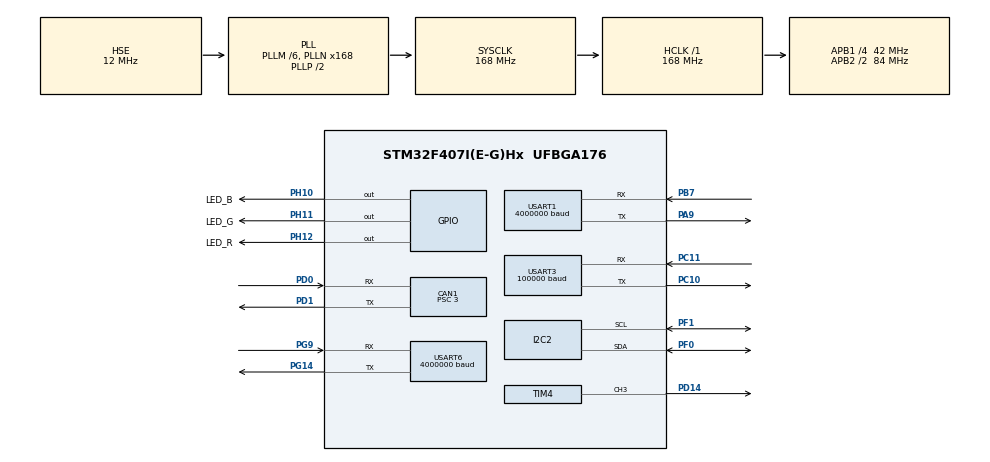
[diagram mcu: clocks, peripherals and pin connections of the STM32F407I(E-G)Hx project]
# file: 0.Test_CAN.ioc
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CAN1.BS1=CAN_BS1_10TQ
CAN1.BS2=CAN_BS2_3TQ
CAN1.CalculateBaudRate=1000000
CAN1.CalculateTimeBit=1000
CAN1.CalculateTimeQuantum=71.42857142857143
CAN1.Mode=CAN_MODE_NORMAL
CAN1.Prescaler=3
Dma.Request0=USART3_RX
Dma.USART3_RX.0.Direction=DMA_PERIPH_TO_MEMORY
Dma.USART3_RX.0.FIFOMode=DMA_FIFOMODE_DISABLE
Dma.USART3_RX.0.Instance=DMA1_Stream1
Dma.USART3_RX.0.MemDataAlignment=DMA_MDATAALIGN_BYTE
Dma.USART3_RX.0.MemInc=DMA_MINC_ENABLE
Dma.USART3_RX.0.Mode=DMA_NORMAL
Dma.USART3_RX.0.PeriphDataAlignment=DMA_PDATAALIGN_BYTE
Dma.USART3_RX.0.PeriphInc=DMA_PINC_DISABLE
Dma.USART3_RX.0.Priority=DMA_PRIORITY_VERY_HIGH
I2C2.I2C_Mode=I2C_Fast
Mcu.Family=STM32F4
Mcu.Name=STM32F407I(E-G)Hx
Mcu.Package=UFBGA176
NVIC.CAN1_RX0_IRQn=true\:0\:0\:false\:false\:true\:true\:true\:true
NVIC.CAN1_RX1_IRQn=true\:0\:0\:false\:false\:true\:true\:true\:true
NVIC.DMA1_Stream1_IRQn=true\:0\:0\:false\:false\:true\:false\:true\:true
NVIC.PriorityGroup=NVIC_PRIORITYGROUP_4
NVIC.USART1_IRQn=true\:0\:0\:false\:false\:true\:true\:true\:true
NVIC.USART3_IRQn=true\:0\:0\:false\:false\:true\:true\:true\:true
NVIC.USART6_IRQn=true\:0\:0\:false\:false\:true\:true\:true\:true
PA9.Mode=Asynchronous
PA9.Signal=USART1_TX
PB7.Mode=Asynchronous
PB7.Signal=USART1_RX
PC10.Mode=Asynchronous
PC10.Signal=USART3_TX
PC11.Mode=Asynchronous
PC11.Signal=USART3_RX
PD0.Mode=CAN_Activate
PD0.Signal=CAN1_RX
PD1.Mode=CAN_Activate
PD1.Signal=CAN1_TX
PD14.Signal=S_TIM4_CH3
PF0.Mode=I2C
PF0.Signal=I2C2_SDA
PF1.Mode=I2C
PF1.Signal=I2C2_SCL
PG14.Mode=Asynchronous
PG14.Signal=USART6_TX
PG9.Mode=Asynchronous
PG9.Signal=USART6_RX
PH0-OSC_IN.Mode=HSE-External-Oscillator
PH0-OSC_IN.Signal=RCC_OSC_IN
PH1-OSC_OUT.Mode=HSE-External-Oscillator
PH1-OSC_OUT.Signal=RCC_OSC_OUT
PH10.GPIO_Label=LED_B
PH10.GPIO_PuPd=GPIO_PULLUP
PH10.Signal=GPIO_Output
PH11.GPIO_Label=LED_G
PH11.GPIO_PuPd=GPIO_PULLUP
PH11.Signal=GPIO_Output
PH12.GPIO_Label=LED_R
PH12.GPIO_PuPd=GPIO_PULLUP
PH12.Signal=GPIO_Output
ProjectManager.HeapSize=0x200
ProjectManager.StackSize=0x400
ProjectManager.TargetToolchain=Makefile
RCC.48MHZClocksFreq_Value=84000000
RCC.AHBFreq_Value=168000000
RCC.APB1CLKDivider=RCC_HCLK_DIV4
RCC.APB1Freq_Value=42000000
RCC.APB1TimFreq_Value=84000000
RCC.APB2CLKDivider=RCC_HCLK_DIV2
RCC.APB2Freq_Value=84000000
RCC.APB2TimFreq_Value=168000000
RCC.CortexFreq_Value=168000000
RCC.HCLKFreq_Value=168000000
RCC.HSE_VALUE=12000000
RCC.HSI_VALUE=16000000
RCC.LSE_VALUE=32768
RCC.PLLM=6
RCC.PLLN=168
RCC.PLLSourceVirtual=RCC_PLLSOURCE_HSE
RCC.SYSCLKFreq_VALUE=168000000
RCC.SYSCLKSource=RCC_SYSCLKSOURCE_PLLCLK
RCC.VCOOutputFreq_Value=336000000
SH.S_TIM4_CH3.0=TIM4_CH3,PWM Generation3 CH3
TIM4.AutoReloadPreload=TIM_AUTORELOAD_PRELOAD_ENABLE
TIM4.Channel-PWM\ Generation3\ CH3=TIM_CHANNEL_3
TIM4.Period=20999
TIM4.Pulse-PWM\ Generation3\ CH3=10500
USART1.BaudRate=4000000
USART1.VirtualMode=VM_ASYNC
USART3.BaudRate=100000
USART3.Parity=PARITY_EVEN
USART3.VirtualMode=VM_ASYNC
USART6.BaudRate=4000000
USART6.VirtualMode=VM_ASYNC
VP_TIM4_VS_ClockSourceINT.Mode=Internal
board=custom

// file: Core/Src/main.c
/* USER CODE BEGIN Header */
/**
  ******************************************************************************
  * @file           : main.c
  * @brief          : Main program body
  ******************************************************************************
  * @attention      : 小米电机测试
  *
  * Copyright (c) 2024 STMicroelectronics.
  * All rights reserved.
  *
  * This software is licensed under terms that can be found in the LICENSE file
  * in the root directory of this software component.
  * If no LICENSE file comes with this software, it is provided AS-IS.
  *
  ******************************************************************************
  */
/* USER CODE END Header */
#include "main.h"
#include "can.h"
#include "dma.h"
#include "i2c.h"
#include "tim.h"
#include "usart.h"
#include "gpio.h"

/* USER CODE BEGIN Includes */
#include "MI_motor_drive.h"
#include "can_test.h"
#include "remote_control.h"
#include "bsp_usart.h"
#include "bsp_rc.h"
#include "OLED.h"
#include "motor_A1.h"
#include "motor_control.h" //GO1电机

/* USER CODE END Includes */

/* USER CODE BEGIN PD */
#define PI 3.1415926535f
#define DGR2RAD PI/180
/* USER CODE END PD */

/* USER CODE BEGIN PV */
//遥控器控制结构体
const RC_ctrl_t* DT7_pram;

// 宇树GO1电机
MOTOR_send Motor_GO1_send;   //以全局变量声明电机控制结构体和电机数据结构体，方便在故障时通过debug查看变量值
MOTOR_recv Motor_GO1_recv;

/* USER CODE END PV */

void SystemClock_Config(void);

int main(void)
{

  /* MCU Configuration--------------------------------------------------------*/

  /* Reset of all peripherals, Initializes the Flash interface and the Systick. */
  HAL_Init();

  /* Configure the system clock */
  SystemClock_Config();

  /* Initialize all configured peripherals */
  MX_GPIO_Init();
  MX_DMA_Init();
  MX_CAN1_Init();
  MX_USART1_UART_Init();
  MX_USART3_UART_Init();
  MX_I2C2_Init();
  MX_USART6_UART_Init();
  MX_TIM4_Init();
  /* USER CODE BEGIN 2 */

  // MX_CAN1_Init() 功能：配置CAN1参数 + 打开NVIC + 打开GPIO

  //自定义 初始化 开始 ----------------------------------------------------------------
  int i = 0;
  OLED_init();           // OLED初始化
  OLED_clear();          OLED_printf(i/20,i%20,"#");  OLED_refresh_gram(); i++; // OLED清屏
  remote_control_init(); OLED_printf(i/20,i%20,"#");  OLED_refresh_gram(); i++; // 遥控器初始化
  CAN_Init(&hcan1);      OLED_printf(i/20,i%20,"#");  OLED_refresh_gram(); i++; // 初始化CAN1

  // TIM4 已经设置 50% 占空比
  // PSC=0 Reload=21000-1 => f=4KHz
  HAL_TIM_Base_Start(&htim4);               // 开启TIM4
  HAL_TIM_PWM_Start(&htim4,TIM_CHANNEL_3);  // 开启TIM4 PWM 蜂鸣器
  __HAL_TIM_PRESCALER(&htim4, 8);           // 设置TIM4 预分频 调整音色
  HAL_Delay(100);                           // 延时0.1s
  HAL_TIM_PWM_Stop(&htim4,TIM_CHANNEL_3);   // 关闭TIM4 PWM

  OLED_clear();
  //自定义 初始化 结束 ----------------------------------------------------------------

  /* USER CODE END 2 */

  /* Infinite loop */
  /* USER CODE BEGIN WHILE */
      OLED_show_string(0,0,"S1 = ");   OLED_show_string(0,10,"S0 = ");
      OLED_show_string(2,0,"CH2= ");   OLED_show_string(2,10,"CH0= ");
      OLED_show_string(3,0,"CH3= ");   OLED_show_string(3,10,"CH1= ");

      // 配置GO1电机
      Motor_GO1_send.id=0; 			//给电机控制指令结构体赋值
      Motor_GO1_send.mode=1;
      Motor_GO1_send.T=0;
      Motor_GO1_send.W=0;
      Motor_GO1_send.Pos=0;
      Motor_GO1_send.K_P=0;
      Motor_GO1_send.K_W=0.01; //原先为0.05

  while (1)
  {
    DT7_pram = get_remote_control_point(); // 获取遥控器控制结构体
    uint8_t STOP = DT7_pram->rc.s[1]/2;    // 跟踪遥控器开关 S[1]左 S[0]右 状态  // 上1 中3 下2

    // 跟踪遥控器4个通道参数
    OLED_show_num(0,5,(uint8_t) DT7_pram->rc.s[1]/2,1);  OLED_show_num(0,15,(uint8_t) DT7_pram->rc.s[0]/2,1);
    OLED_show_signednum(2,5,DT7_pram->rc.ch[2],3);       OLED_show_signednum(2,15,DT7_pram->rc.ch[0],3);
    OLED_show_signednum(3,5,DT7_pram->rc.ch[3],3);       OLED_show_signednum(3,15,DT7_pram->rc.ch[1],3);
    OLED_refresh_gram();
    /* USER CODE END WHILE */

    /* USER CODE BEGIN 3 */

    // 宇树GO1电机
    Motor_GO1_send.W = (float) STOP*DT7_pram->rc.ch[1]/660*40; // 速度
    SERVO_Send_recv(&Motor_GO1_send, &Motor_GO1_recv);	//将控制指令发送给电机，同时接收返回值

  }
  /* USER CODE END 3 */
}

void SystemClock_Config(void)
{
  RCC_OscInitTypeDef RCC_OscInitStruct = {0};
  RCC_ClkInitTypeDef RCC_ClkInitStruct = {0};

  /** Configure the main internal regulator output voltage
  */
  __HAL_RCC_PWR_CLK_ENABLE();
  __HAL_PWR_VOLTAGESCALING_CONFIG(PWR_REGULATOR_VOLTAGE_SCALE1);

  /** Initializes the RCC Oscillators according to the specified parameters
  * in the RCC_OscInitTypeDef structure.
  */
  RCC_OscInitStruct.OscillatorType = RCC_OSCILLATORTYPE_HSE;
  RCC_OscInitStruct.HSEState = RCC_HSE_ON;
  RCC_OscInitStruct.PLL.PLLState = RCC_PLL_ON;
  RCC_OscInitStruct.PLL.PLLSource = RCC_PLLSOURCE_HSE;
  RCC_OscInitStruct.PLL.PLLM = 6;
  RCC_OscInitStruct.PLL.PLLN = 168;
  RCC_OscInitStruct.PLL.PLLP = RCC_PLLP_DIV2;
  RCC_OscInitStruct.PLL.PLLQ = 4;
  if (HAL_RCC_OscConfig(&RCC_OscInitStruct) != HAL_OK)
  {
    Error_Handler();
  }

  /** Initializes the CPU, AHB and APB buses clocks
  */
  RCC_ClkInitStruct.ClockType = RCC_CLOCKTYPE_HCLK|RCC_CLOCKTYPE_SYSCLK
                              |RCC_CLOCKTYPE_PCLK1|RCC_CLOCKTYPE_PCLK2;
  RCC_ClkInitStruct.SYSCLKSource = RCC_SYSCLKSOURCE_PLLCLK;
  RCC_ClkInitStruct.AHBCLKDivider = RCC_SYSCLK_DIV1;
  RCC_ClkInitStruct.APB1CLKDivider = RCC_HCLK_DIV4;
  RCC_ClkInitStruct.APB2CLKDivider = RCC_HCLK_DIV2;

  if (HAL_RCC_ClockConfig(&RCC_ClkInitStruct, FLASH_LATENCY_5) != HAL_OK)
  {
    Error_Handler();
  }
}

void Error_Handler(void)
{
  __disable_irq();
  while (1)
  {
  }
}
